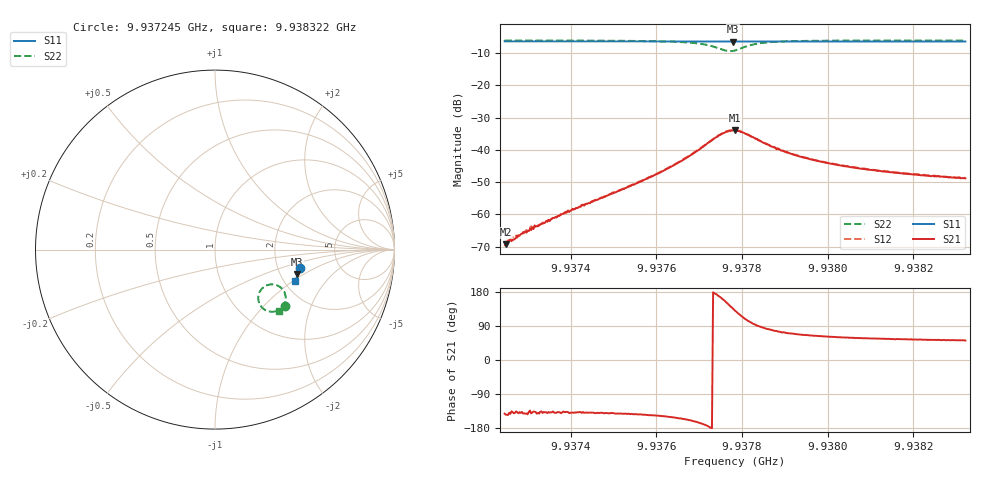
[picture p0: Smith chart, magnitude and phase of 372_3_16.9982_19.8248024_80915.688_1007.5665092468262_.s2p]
#  HZ  S  RI  R  50.00
! Rohde & Schwarz Vector Network Analyzer
! Rohde-Schwarz,ZNB20-2Port,1311601062101988,3.16
! Created: UTC 3/20/2024, 11:08:47 PM
! freq[Hz]  re:S11  im:S11  re:S21  im:S21  re:S12  im:S12  re:S22  im:S22
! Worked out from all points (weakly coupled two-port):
!   401 points, 9.937245 GHz to 9.938322 GHz, reference 50 ohm
!   highest |S21| = -33.91 dB at 9.937784 GHz (marker M1); lowest = -69.2 dB at 9.937248 GHz (marker M2)
!   lowest |S11| = -6.4 dB at 9.937778 GHz (marker M3), VSWR 2.84, Z = 123 - j44.3 ohm
!   |S11| at or under -10 dB: nowhere
!   |S22| runs from -9.4 to -6.1 dB; largest |S21 - S12| = 0.00075
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9.9372454e9  0.4722 -0.1046  -0.000289 -0.000229  -0.000254 -0.000199  0.3874 -0.3131
9.9372481e9  0.4722 -0.1049  -0.000282 -0.000203  -0.000271 -0.000232  0.3873 -0.3132
9.9372589e9  0.472 -0.1055  -0.000316 -0.000246  -0.000316 -0.000271  0.3865 -0.3141
9.9372669e9  0.4719 -0.1062  -0.000315 -0.000258  -0.000331 -0.000306  0.386 -0.3145
9.9372804e9  0.4716 -0.1071  -0.000347 -0.000319  -0.000362 -0.000309  0.385 -0.3154
9.93731e9  0.471 -0.109  -0.00047 -0.000414  -0.000484 -0.000411  0.3826 -0.3177
9.9373208e9  0.4709 -0.1097  -0.000521 -0.000412  -0.000492 -0.00043  0.382 -0.3184
9.9374258e9  0.4686 -0.1167  -0.00106 -0.000908  -0.00106 -0.000898  0.3723 -0.3266
9.9375254e9  0.4664 -0.1234  -0.00197 -0.00155  -0.00203 -0.00153  0.3592 -0.3354
9.9376061e9  0.4644 -0.1288  -0.00369 -0.00238  -0.00379 -0.00236  0.3404 -0.3434
9.9376627e9  0.4629 -0.1326  -0.00638 -0.00291  -0.00655 -0.00288  0.3161 -0.3467
9.9377138e9  0.4609 -0.1359  -0.0117 -0.00185  -0.012 -0.00162  0.2735 -0.3328
9.9377569e9  0.4591 -0.1379  -0.0171 0.00658  -0.0173 0.00724  0.2417 -0.2599
9.9377784e9  0.4587 -0.1384  -0.0146 0.0138  -0.0143 0.0143  0.2721 -0.2084
9.9377838e9  0.4588 -0.1386  -0.0131 0.0153  -0.0127 0.0158  0.2854 -0.2005
9.9377999e9  0.4591 -0.1392  -0.00793 0.0171  -0.00756 0.0175  0.3273 -0.1941
9.9378403e9  0.459 -0.142  0.00028 0.0141  0.000503 0.0141  0.3844 -0.2326
9.9379049e9  0.458 -0.1467  0.00289 0.00863  0.00315 0.00885  0.3936 -0.2804
9.9379642e9  0.4565 -0.151  0.00308 0.00638  0.00324 0.00641  0.3885 -0.3014
9.9380368e9  0.4545 -0.1557  0.00285 0.00485  0.00299 0.00491  0.3811 -0.3161
9.9381445e9  0.4518 -0.1627  0.00257 0.00373  0.00267 0.00376  0.3719 -0.3293
9.9383222e9  0.4467 -0.174  0.00227 0.00284  0.00234 0.00286  0.3588 -0.3437
